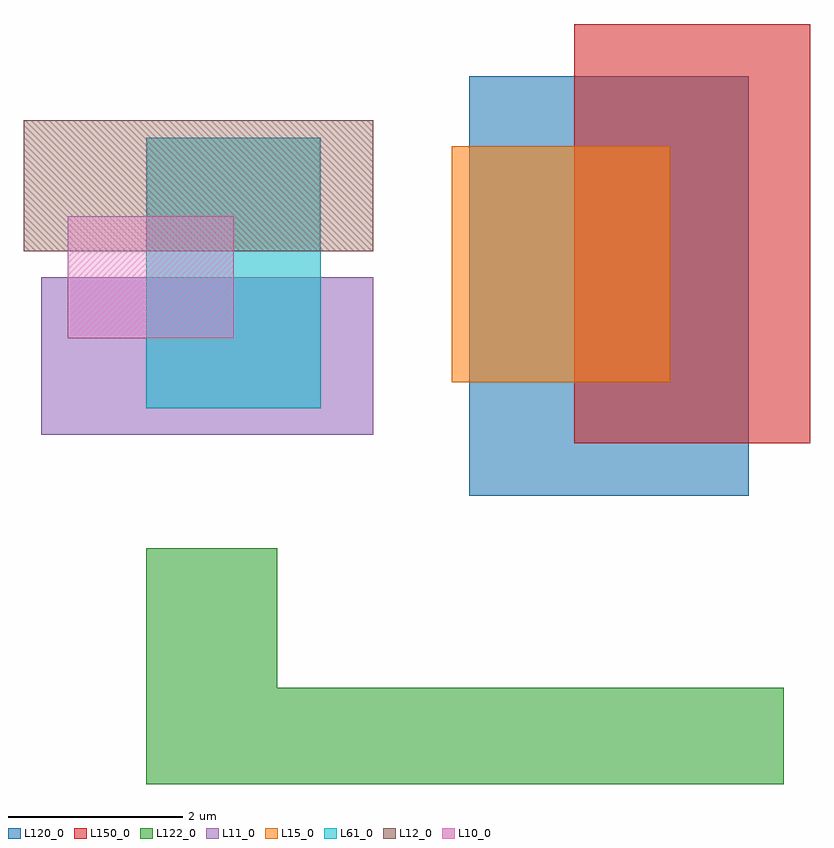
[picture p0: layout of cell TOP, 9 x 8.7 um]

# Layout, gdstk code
import gdstk
lib = gdstk.Library(unit=1e-6, precision=1e-09)
def R(c, l, rs):  # rectangles x0, y0, x1, y1
    for r in rs: c.add(gdstk.rectangle(r[:2], r[2:], *l))
def P(c, l, *ps):  # polygons
    for p in ps: c.add(gdstk.Polygon(p, *l))
L10_0 = (10, 0)
L11_0 = (11, 0)
L12_0 = (12, 0)
L15_0 = (15, 0)
L61_0 = (61, 0)
L120_0 = (120, 0)
L122_0 = (122, 0)
L150_0 = (150, 0)

top = lib.new_cell('TOP')
R(top, L10_0, [(-0.1,-0.1,1.8,1.3)])
R(top, L11_0, [(-0.4,-1.2,3.4,0.6)])
R(top, L12_0, [(-0.6,0.9,3.4,2.4)])
R(top, L15_0, [(4.3,-0.6,6.8,2.1)])
R(top, L61_0, [(0.8,-0.9,2.8,2.2)])
R(top, L120_0, [(4.5,-1.9,7.7,2.9)])
P(top, L122_0, [(0.8,-5.2),(0.8,-2.5),(2.3,-2.5),(2.3,-4.1),(8.1,-4.1),(8.1,-5.2)])
R(top, L150_0, [(5.7,-1.3,8.4,3.5)])

lib.write_gds('TOP.gds')
